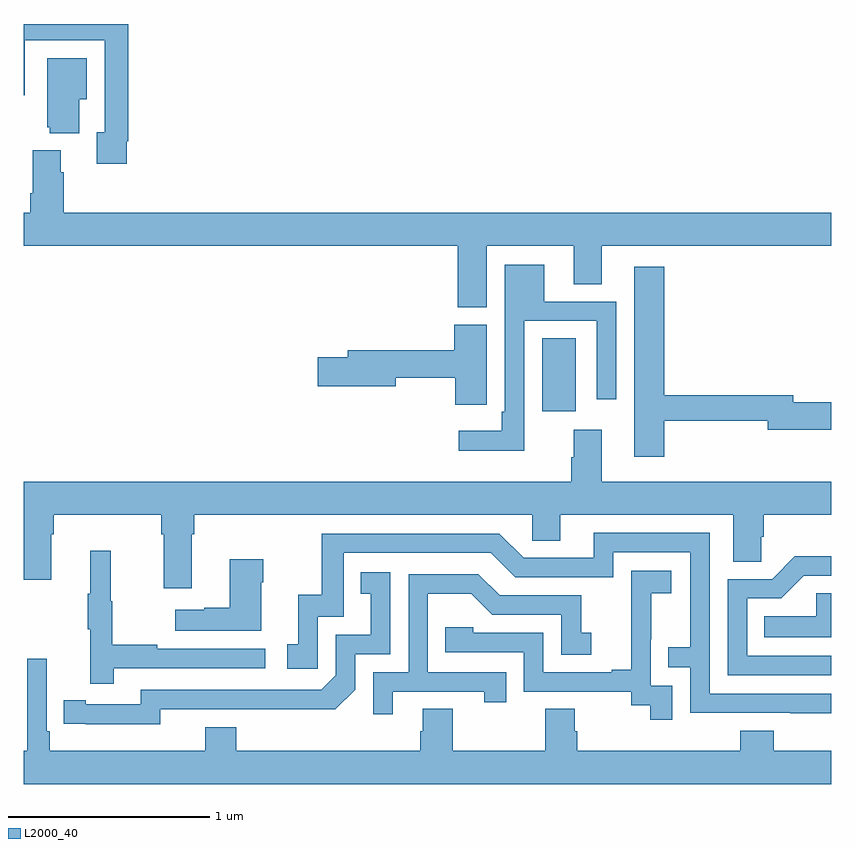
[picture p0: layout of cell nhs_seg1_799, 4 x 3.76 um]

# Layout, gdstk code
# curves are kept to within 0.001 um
import gdstk
lib = gdstk.Library(unit=1e-6, precision=1e-09)
def R(c, l, rs):  # rectangles x0, y0, x1, y1
    for r in rs: c.add(gdstk.rectangle(r[:2], r[2:], *l))
def P(c, l, *ps):  # polygons
    for p in ps: c.add(gdstk.Polygon(p, *l))
L2000_40 = (2000, 40)

nhs_seg1_799 = lib.new_cell('nhs_seg1_799')
R(nhs_seg1_799, L2000_40, [(157.568,516.282,157.735,516.644)])
P(nhs_seg1_799, L2000_40, [(155.512,517.618),(155.519,517.618),(155.519,518.199),(155,518.199),(155,517.845),(155.007,517.845),(155.007,518.118),(155.403,518.118),(155.403,517.662),(155.363,517.662),(155.363,517.506),(155.512,517.506)],
  [(155.275,517.826),(155.314,517.826),(155.314,518.029),(155.117,518.029),(155.117,517.689),(155.129,517.689),(155.129,517.658),(155.275,517.658)],
  [(157.294,517.1),(157.724,517.1),(157.724,516.91),(157.864,516.91),(157.864,517.1),(159,517.1),(159,517.264),(155.198,517.264),(155.198,517.466),(155.185,517.466),(155.185,517.573),(155.045,517.573),(155.045,517.36),(155.033,517.36),(155.033,517.264),(155,517.264),(155,517.1),(157.151,517.1),(157.151,516.796),(157.294,516.796)],
  [(157.479,516.729),(157.839,516.729),(157.839,516.342),(157.935,516.342),(157.935,516.825),(157.579,516.825),(157.579,517.006),(157.383,517.006),(157.383,516.28),(157.367,516.28),(157.367,516.184),(157.155,516.184),(157.155,516.086),(157.479,516.086)],
  [(158.171,516.234),(158.684,516.234),(158.684,516.191),(159,516.191),(159,516.326),(158.812,516.326),(158.812,516.362),(158.171,516.362),(158.171,516.996),(158.024,516.996),(158.024,516.057),(158.171,516.057)],
  [(157.293,516.427),(157.294,516.427),(157.294,516.711),(157.133,516.711),(157.133,516.584),(156.605,516.584),(156.605,516.548),(156.456,516.548),(156.456,516.406),(156.844,516.406),(156.844,516.448),(157.138,516.448),(157.138,516.315),(157.293,516.315)],
  [(155.833,515.672),(155.846,515.672),(155.846,515.768),(157.518,515.768),(157.518,515.641),(157.657,515.641),(157.657,515.768),(158.513,515.768),(158.513,515.536),(158.652,515.536),(158.652,515.659),(158.666,515.659),(158.666,515.768),(159,515.768),(159,515.932),(157.864,515.932),(157.864,516.19),(157.724,516.19),(157.724,516.053),(157.712,516.053),(157.712,515.932),(155,515.932),(155,515.448),(155.137,515.448),(155.137,515.672),(155.15,515.672),(155.15,515.768),(155.681,515.768),(155.681,515.672),(155.693,515.672),(155.693,515.406),(155.833,515.406)],
  [(159,514.884),(158.397,514.884),(158.397,515.679),(157.823,515.679),(157.823,515.556),(157.476,515.556),(157.356,515.676),(156.477,515.676),(156.477,515.374),(156.359,515.374),(156.359,515.127),(156.306,515.127),(156.306,515.007),(156.456,515.007),(156.456,515.265),(156.585,515.265),(156.585,515.58),(157.314,515.58),(157.434,515.46),(157.92,515.46),(157.92,515.583),(158.301,515.583),(158.301,515.114),(158.191,515.114),(158.191,515.013),(158.301,515.013),(158.301,514.788),(159,514.787)],
  [(155.447,515.01),(156.196,515.01),(156.196,515.106),(155.663,515.106),(155.663,515.126),(155.44,515.126),(155.44,515.34),(155.432,515.34),(155.432,515.59),(155.33,515.59),(155.33,515.377),(155.319,515.377),(155.319,515.203),(155.33,515.203),(155.33,514.932),(155.447,514.932)],
  [(159,515.07),(158.583,515.07),(158.583,515.355),(158.752,515.355),(158.863,515.466),(158.998,515.466),(158.998,515.564),(158.819,515.564),(158.706,515.451),(158.487,515.451),(158.487,514.974),(159,514.974)],
  [(156.178,515.435),(156.186,515.435),(156.186,515.548),(156.02,515.548),(156.02,515.309),(155.894,515.309),(155.894,515.299),(155.751,515.299),(155.751,515.195),(156.178,515.195)],
  [(158.211,514.923),(158.106,514.923),(158.106,515.153),(158.108,515.153),(158.108,515.381),(158.206,515.381),(158.206,515.491),(158.008,515.491),(158.008,515.285),(158.009,515.285),(158.009,515.002),(157.913,515.002),(157.913,514.989),(157.572,514.989),(157.572,515.184),(157.227,515.184),(157.227,515.211),(157.087,515.211),(157.087,515.088),(157.476,515.088),(157.476,514.893),(158.01,514.893),(158.01,514.825),(158.103,514.825),(158.103,514.755),(158.211,514.755)],
  [(155.676,514.806),(156.544,514.805),(156.642,514.902),(156.642,515.079),(156.816,515.079),(156.816,515.485),(156.67,515.485),(156.67,515.379),(156.719,515.379),(156.719,515.175),(156.546,515.175),(156.546,514.974),(156.474,514.902),(155.58,514.902),(155.58,514.83),(155.308,514.83),(155.308,514.85),(155.2,514.85),(155.2,514.734),(155.676,514.733)],
  [(156.829,514.893),(157.28,514.893),(157.28,514.842),(157.391,514.842),(157.391,514.989),(157.002,514.989),(157.002,515.378),(157.216,515.378),(157.32,515.274),(157.662,515.274),(157.662,515.076),(157.81,515.076),(157.81,515.185),(157.761,515.185),(157.761,515.37),(157.357,515.37),(157.252,515.475),(156.906,515.475),(156.906,514.989),(156.732,514.989),(156.732,514.782),(156.829,514.782)],
  [(159,515.381),(158.925,515.381),(158.925,515.266),(158.668,515.266),(158.668,515.162),(159,515.162)],
  [(159,514.6),(158.714,514.6),(158.714,514.699),(158.549,514.699),(158.549,514.6),(157.742,514.6),(157.742,514.698),(157.729,514.698),(157.729,514.808),(157.582,514.808),(157.582,514.6),(157.125,514.6),(157.125,514.808),(156.977,514.808),(156.977,514.698),(156.965,514.698),(156.965,514.6),(156.053,514.6),(156.053,514.717),(155.9,514.717),(155.9,514.6),(155.129,514.6),(155.129,514.696),(155.115,514.696),(155.115,515.056),(155.018,515.056),(155.018,514.6),(155,514.6),(155,514.436),(159,514.436)])

lib.write_gds('nhs_seg1_799.gds')
